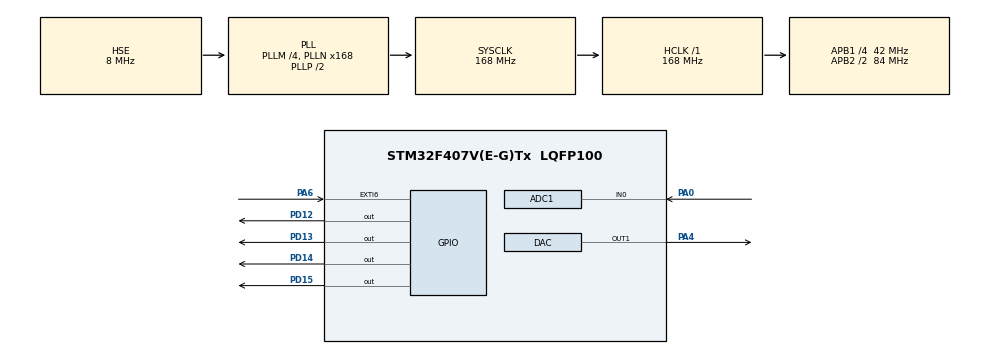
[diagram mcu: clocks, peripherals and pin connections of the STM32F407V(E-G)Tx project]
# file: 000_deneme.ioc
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ADC1.Channel-0\#ChannelRegularConversion=ADC_CHANNEL_0
ADC1.ContinuousConvMode=ENABLE
ADC1.NbrOfConversionFlag=1
ADC1.Rank-0\#ChannelRegularConversion=1
ADC1.SamplingTime-0\#ChannelRegularConversion=ADC_SAMPLETIME_56CYCLES
ADC1.master=1
Mcu.Family=STM32F4
Mcu.Name=STM32F407V(E-G)Tx
Mcu.Package=LQFP100
NVIC.EXTI9_5_IRQn=true\:0\:0\:false\:false\:true\:true\:true\:true
NVIC.PriorityGroup=NVIC_PRIORITYGROUP_4
PA0-WKUP.Signal=ADCx_IN0
PA13.Mode=Serial_Wire
PA13.Signal=SYS_JTMS-SWDIO
PA14.Mode=Serial_Wire
PA14.Signal=SYS_JTCK-SWCLK
PA4.Signal=COMP_DAC1_group
PA6.GPIO_PuPd=GPIO_PULLDOWN
PA6.Signal=GPXTI6
PD12.Signal=GPIO_Output
PD13.Signal=GPIO_Output
PD14.PinState=GPIO_PIN_RESET
PD14.Signal=GPIO_Output
PD15.GPIO_PuPd=GPIO_NOPULL
PD15.Signal=GPIO_Output
PH0-OSC_IN.Mode=HSE-External-Oscillator
PH0-OSC_IN.Signal=RCC_OSC_IN
PH1-OSC_OUT.Mode=HSE-External-Oscillator
PH1-OSC_OUT.Signal=RCC_OSC_OUT
ProjectManager.HeapSize=0x200
ProjectManager.StackSize=0x400
ProjectManager.TargetToolchain=STM32CubeIDE
RCC.48MHZClocksFreq_Value=84000000
RCC.AHBFreq_Value=168000000
RCC.APB1CLKDivider=RCC_HCLK_DIV4
RCC.APB1Freq_Value=42000000
RCC.APB1TimFreq_Value=84000000
RCC.APB2CLKDivider=RCC_HCLK_DIV2
RCC.APB2Freq_Value=84000000
RCC.APB2TimFreq_Value=168000000
RCC.CortexFreq_Value=168000000
RCC.HCLKFreq_Value=168000000
RCC.HSE_VALUE=8000000
RCC.HSI_VALUE=16000000
RCC.LSE_VALUE=32768
RCC.PLLM=4
RCC.PLLN=168
RCC.PLLSourceVirtual=RCC_PLLSOURCE_HSE
RCC.SYSCLKFreq_VALUE=168000000
RCC.SYSCLKSource=RCC_SYSCLKSOURCE_PLLCLK
RCC.VCOOutputFreq_Value=336000000
SH.ADCx_IN0.0=ADC1_IN0,IN0
SH.COMP_DAC1_group.0=DAC_OUT1,DAC_OUT1
TIM2.Period=1999
TIM2.Prescaler=41999
VP_TIM2_VS_ClockSourceINT.Mode=Internal
board=custom

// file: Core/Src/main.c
/* USER CODE BEGIN Header */
/**
  ******************************************************************************
  * @file           : main.c
  * @brief          : Main program body
  ******************************************************************************
  * @attention
  *
  * Copyright (c) 2022 STMicroelectronics.
  * All rights reserved.
  *
  * This software is licensed under terms that can be found in the LICENSE file
  * in the root directory of this software component.
  * If no LICENSE file comes with this software, it is provided AS-IS.
  *
  ******************************************************************************
  */
/* USER CODE END Header */
#include "main.h"

ADC_HandleTypeDef hadc1;

DAC_HandleTypeDef hdac;

TIM_HandleTypeDef htim2;

/* USER CODE BEGIN PV */

uint16_t adc_value=0,dac_value=0,tim_value=0,i=0;
// pa0 adc, timer2 internal clock ,pa4 dac,pa6 interrupt

/* USER CODE END PV */

void SystemClock_Config(void);
static void MX_GPIO_Init(void);
static void MX_ADC1_Init(void);
static void MX_DAC_Init(void);
static void MX_TIM2_Init(void);

/* USER CODE BEGIN 0 */

// adc interrupt function
/*
void HAL_ADC_ConvCpltCallback(ADC_HandleTypeDef* hadc)
{
	adc_value=HAL_ADC_GetValue(&hadc1);
}
*/

// istersen exti yi buraya yaz pa6 yada  void EXTI9_5_IRQHandler(void) bunun içine stm32f4xx_it.c de en altta
void HAL_GPIO_EXTI_Callback(uint16_t GPIO_Pin)
{
	while(HAL_GPIO_ReadPin(GPIOA, GPIO_PIN_6) ); // basılı oldugu sürece while kalır,bouncing olmaz.

	// interrupt pa6 ,led yak pd15 led.
	HAL_GPIO_TogglePin(GPIOD, GPIO_PIN_15);

	// timer tim2, led pd14 yak söndür
	HAL_TIM_Base_Start(&htim2);
	tim_value=__HAL_TIM_GET_COUNTER(&htim2); // counter degerini alıyoruz
	if(tim_value>1000){
		HAL_GPIO_TogglePin(GPIOD, GPIO_PIN_14);
	}
	//HAL_TIM_Base_Stop(&htim2);

}

/* USER CODE END 0 */

int main(void)
{

  /* MCU Configuration--------------------------------------------------------*/

  /* Reset of all peripherals, Initializes the Flash interface and the Systick. */
  HAL_Init();

  /* Configure the system clock */
  SystemClock_Config();

  /* Initialize all configured peripherals */
  MX_GPIO_Init();
  MX_ADC1_Init();
  MX_DAC_Init();
  MX_TIM2_Init();
  /* USER CODE BEGIN 2 */

  //HAL_ADC_Start_IT(&hadc1);
  HAL_DAC_Start(&hdac,DAC_CHANNEL_1);

  /* USER CODE END 2 */

  /* Infinite loop */
  while (1)
  {

    /* USER CODE BEGIN 3 */

	  // adc
	  HAL_ADC_Start(&hadc1);
	  if(HAL_ADC_PollForConversion(&hadc1, 100000)==HAL_OK){
		  adc_value=HAL_ADC_GetValue(&hadc1);
	  }
	  HAL_ADC_Stop(&hadc1);

	  //dac
	  HAL_DAC_SetValue(&hdac, DAC_CHANNEL_1,DAC_ALIGN_12B_R, adc_value);

	  //timer
	  tim_value=__HAL_TIM_GET_COUNTER(&htim2); // counter degerini alıyoruz

  }
  /* USER CODE END 3 */
}

void SystemClock_Config(void)
{
  RCC_OscInitTypeDef RCC_OscInitStruct = {0};
  RCC_ClkInitTypeDef RCC_ClkInitStruct = {0};

  /** Configure the main internal regulator output voltage
  */
  __HAL_RCC_PWR_CLK_ENABLE();
  __HAL_PWR_VOLTAGESCALING_CONFIG(PWR_REGULATOR_VOLTAGE_SCALE1);

  /** Initializes the RCC Oscillators according to the specified parameters
  * in the RCC_OscInitTypeDef structure.
  */
  RCC_OscInitStruct.OscillatorType = RCC_OSCILLATORTYPE_HSE;
  RCC_OscInitStruct.HSEState = RCC_HSE_ON;
  RCC_OscInitStruct.PLL.PLLState = RCC_PLL_ON;
  RCC_OscInitStruct.PLL.PLLSource = RCC_PLLSOURCE_HSE;
  RCC_OscInitStruct.PLL.PLLM = 4;
  RCC_OscInitStruct.PLL.PLLN = 168;
  RCC_OscInitStruct.PLL.PLLP = RCC_PLLP_DIV2;
  RCC_OscInitStruct.PLL.PLLQ = 4;
  if (HAL_RCC_OscConfig(&RCC_OscInitStruct) != HAL_OK)
  {
    Error_Handler();
  }

  /** Initializes the CPU, AHB and APB buses clocks
  */
  RCC_ClkInitStruct.ClockType = RCC_CLOCKTYPE_HCLK|RCC_CLOCKTYPE_SYSCLK
                              |RCC_CLOCKTYPE_PCLK1|RCC_CLOCKTYPE_PCLK2;
  RCC_ClkInitStruct.SYSCLKSource = RCC_SYSCLKSOURCE_PLLCLK;
  RCC_ClkInitStruct.AHBCLKDivider = RCC_SYSCLK_DIV1;
  RCC_ClkInitStruct.APB1CLKDivider = RCC_HCLK_DIV4;
  RCC_ClkInitStruct.APB2CLKDivider = RCC_HCLK_DIV2;

  if (HAL_RCC_ClockConfig(&RCC_ClkInitStruct, FLASH_LATENCY_5) != HAL_OK)
  {
    Error_Handler();
  }
}

static void MX_ADC1_Init(void)
{

  ADC_ChannelConfTypeDef sConfig = {0};

  /** Configure the global features of the ADC (Clock, Resolution, Data Alignment and number of conversion)
  */
  hadc1.Instance = ADC1;
  hadc1.Init.ClockPrescaler = ADC_CLOCK_SYNC_PCLK_DIV4;
  hadc1.Init.Resolution = ADC_RESOLUTION_12B;
  hadc1.Init.ScanConvMode = DISABLE;
  hadc1.Init.ContinuousConvMode = ENABLE;
  hadc1.Init.DiscontinuousConvMode = DISABLE;
  hadc1.Init.ExternalTrigConvEdge = ADC_EXTERNALTRIGCONVEDGE_NONE;
  hadc1.Init.ExternalTrigConv = ADC_SOFTWARE_START;
  hadc1.Init.DataAlign = ADC_DATAALIGN_RIGHT;
  hadc1.Init.NbrOfConversion = 1;
  hadc1.Init.DMAContinuousRequests = DISABLE;
  hadc1.Init.EOCSelection = ADC_EOC_SINGLE_CONV;
  if (HAL_ADC_Init(&hadc1) != HAL_OK)
  {
    Error_Handler();
  }

  /** Configure for the selected ADC regular channel its corresponding rank in the sequencer and its sample time.
  */
  sConfig.Channel = ADC_CHANNEL_0;
  sConfig.Rank = 1;
  sConfig.SamplingTime = ADC_SAMPLETIME_56CYCLES;
  if (HAL_ADC_ConfigChannel(&hadc1, &sConfig) != HAL_OK)
  {
    Error_Handler();
  }

}

static void MX_DAC_Init(void)
{

  DAC_ChannelConfTypeDef sConfig = {0};

  /** DAC Initialization
  */
  hdac.Instance = DAC;
  if (HAL_DAC_Init(&hdac) != HAL_OK)
  {
    Error_Handler();
  }

  /** DAC channel OUT1 config
  */
  sConfig.DAC_Trigger = DAC_TRIGGER_NONE;
  sConfig.DAC_OutputBuffer = DAC_OUTPUTBUFFER_ENABLE;
  if (HAL_DAC_ConfigChannel(&hdac, &sConfig, DAC_CHANNEL_1) != HAL_OK)
  {
    Error_Handler();
  }

}

static void MX_TIM2_Init(void)
{

  TIM_ClockConfigTypeDef sClockSourceConfig = {0};
  TIM_MasterConfigTypeDef sMasterConfig = {0};

  htim2.Instance = TIM2;
  htim2.Init.Prescaler = 41999;
  htim2.Init.CounterMode = TIM_COUNTERMODE_UP;
  htim2.Init.Period = 1999;
  htim2.Init.ClockDivision = TIM_CLOCKDIVISION_DIV1;
  htim2.Init.AutoReloadPreload = TIM_AUTORELOAD_PRELOAD_DISABLE;
  if (HAL_TIM_Base_Init(&htim2) != HAL_OK)
  {
    Error_Handler();
  }
  sClockSourceConfig.ClockSource = TIM_CLOCKSOURCE_INTERNAL;
  if (HAL_TIM_ConfigClockSource(&htim2, &sClockSourceConfig) != HAL_OK)
  {
    Error_Handler();
  }
  sMasterConfig.MasterOutputTrigger = TIM_TRGO_RESET;
  sMasterConfig.MasterSlaveMode = TIM_MASTERSLAVEMODE_DISABLE;
  if (HAL_TIMEx_MasterConfigSynchronization(&htim2, &sMasterConfig) != HAL_OK)
  {
    Error_Handler();
  }

}

static void MX_GPIO_Init(void)
{
  GPIO_InitTypeDef GPIO_InitStruct = {0};

  /* GPIO Ports Clock Enable */
  __HAL_RCC_GPIOH_CLK_ENABLE();
  __HAL_RCC_GPIOA_CLK_ENABLE();
  __HAL_RCC_GPIOD_CLK_ENABLE();

  /*Configure GPIO pin Output Level */
  HAL_GPIO_WritePin(GPIOD, GPIO_PIN_12|GPIO_PIN_13|GPIO_PIN_14|GPIO_PIN_15, GPIO_PIN_RESET);

  /*Configure GPIO pin : PA6 */
  GPIO_InitStruct.Pin = GPIO_PIN_6;
  GPIO_InitStruct.Mode = GPIO_MODE_IT_RISING;
  GPIO_InitStruct.Pull = GPIO_PULLDOWN;
  HAL_GPIO_Init(GPIOA, &GPIO_InitStruct);

  /*Configure GPIO pins : PD12 PD13 PD14 PD15 */
  GPIO_InitStruct.Pin = GPIO_PIN_12|GPIO_PIN_13|GPIO_PIN_14|GPIO_PIN_15;
  GPIO_InitStruct.Mode = GPIO_MODE_OUTPUT_PP;
  GPIO_InitStruct.Pull = GPIO_NOPULL;
  GPIO_InitStruct.Speed = GPIO_SPEED_FREQ_LOW;
  HAL_GPIO_Init(GPIOD, &GPIO_InitStruct);

  /* EXTI interrupt init*/
  HAL_NVIC_SetPriority(EXTI9_5_IRQn, 0, 0);
  HAL_NVIC_EnableIRQ(EXTI9_5_IRQn);

}

void Error_Handler(void)
{
  __disable_irq();
  while (1)
  {
  }
}
